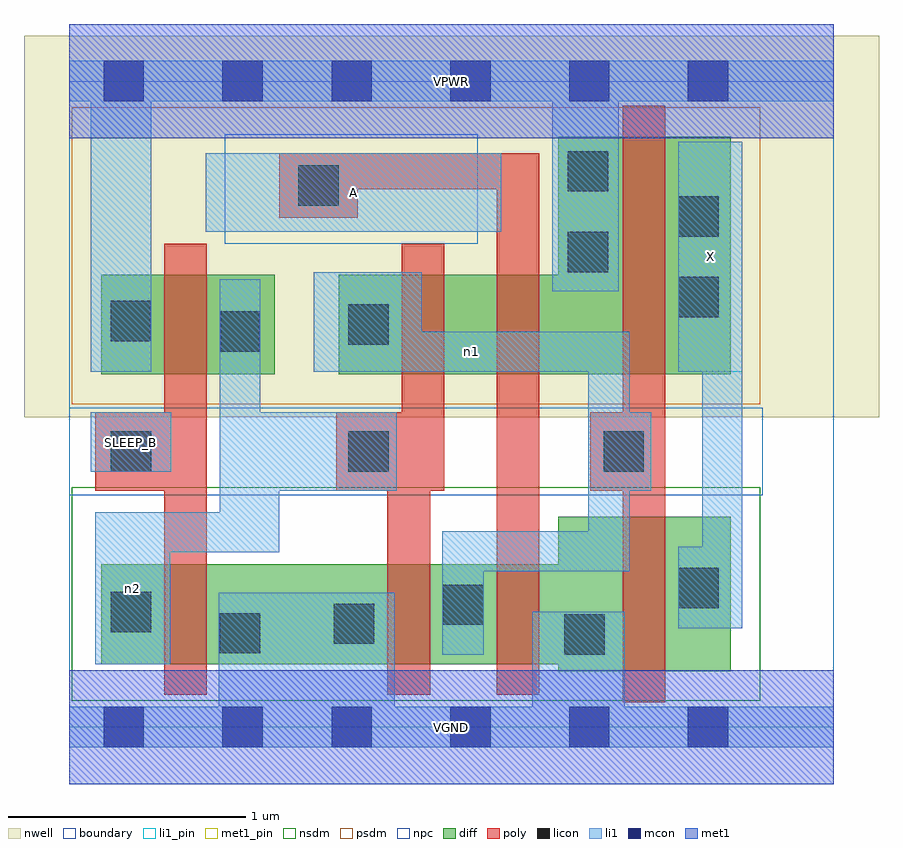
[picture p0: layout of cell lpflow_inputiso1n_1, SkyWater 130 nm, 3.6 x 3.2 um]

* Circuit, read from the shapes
.subckt lpflow_inputiso1n_1 A SLEEP_B VGND VPWR X n1 n2
XM1 VGND SLEEP_B n2 VSUBS sky130_fd_pr__nfet_01v8 w=0.42 l=0.18
XM2 n1 n2 VGND VSUBS sky130_fd_pr__nfet_01v8 w=0.42 l=0.18
XM3 VGND A n1 VSUBS sky130_fd_pr__nfet_01v8 w=0.42 l=0.18
XM4 X n1 VGND VSUBS sky130_fd_pr__nfet_01v8 w=0.65 l=0.18
XM5 n2 SLEEP_B VPWR n3 sky130_fd_pr__pfet_01v8 w=0.42 l=0.18
XM6 n4 n2 n1 n3 sky130_fd_pr__pfet_01v8 w=0.42 l=0.18
XM7 VPWR A n4 n3 sky130_fd_pr__pfet_01v8 w=0.42 l=0.18
XM8 X n1 VPWR n3 sky130_fd_pr__pfet_01v8 w=1 l=0.18
.ends

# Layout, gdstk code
import gdstk
lib = gdstk.Library(unit=1e-6, precision=1e-09)
def R(c, l, rs):  # rectangles x0, y0, x1, y1
    for r in rs: c.add(gdstk.rectangle(r[:2], r[2:], *l))
def A(c, l, x, y, w, h, nx, ny, dx, dy):  # array of equal rectangles
    R(c, l, [(x+i*dx, y+j*dy, x+i*dx+w, y+j*dy+h) for i in range(nx) for j in range(ny)])
nwell = (64, 20)
diff = (65, 20)
poly = (66, 20)
licon = (66, 44)
li1_pin = (67, 16)
li1 = (67, 20)
mcon = (67, 44)
met1_pin = (68, 16)
met1 = (68, 20)
nsdm = (93, 44)
psdm = (94, 20)
npc = (95, 20)
boundary = (235, 4)

lpflow_inputiso1n_1 = lib.new_cell('lpflow_inputiso1n_1')
R(lpflow_inputiso1n_1, nwell, [(-0.19,1.305,3.41,2.91), (0,1.305,3.22,2.91)])
R(lpflow_inputiso1n_1, diff, [(2.06,0.235,2.785,0.885), (0.135,0.265,2.785,0.685), (0.135,1.485,0.865,1.905), (1.135,1.485,2.785,1.905), (2.06,1.485,2.785,2.485)])
R(lpflow_inputiso1n_1, poly, [(2.33,0.105,2.51,2.615), (0.4,0.135,0.58,2.035), (1.34,0.135,1.52,1.325), (1.8,0.135,1.98,2.415), (0.11,0.995,0.58,1.325), (1.125,0.995,1.58,1.325), (1.4,0.995,1.58,2.035), (2.195,0.995,2.51,1.325), (0.885,2.145,1.215,2.415), (0.885,2.265,1.98,2.415)])
R(lpflow_inputiso1n_1, licon, [(2.085,0.305,2.255,0.475), (0.635,0.31,0.805,0.48), (1.115,0.35,1.285,0.52), (0.175,0.4,0.345,0.57), (1.575,0.43,1.745,0.6), (2.565,0.5,2.735,0.67), (0.175,1.075,0.345,1.245), (1.175,1.075,1.345,1.245), (2.25,1.075,2.42,1.245), (0.635,1.58,0.805,1.75), (1.175,1.61,1.345,1.78), (0.175,1.625,0.345,1.795), (2.565,1.725,2.735,1.895), (2.1,1.915,2.27,2.085), (2.565,2.065,2.735,2.235), (0.965,2.195,1.135,2.365), (2.1,2.255,2.27,2.425)])
R(lpflow_inputiso1n_1, li1_pin, [(0.09,1.075,0.43,1.325), (2.565,1.495,2.835,2.465), (0.575,2.085,1.82,2.415)])
R(lpflow_inputiso1n_1, li1, [(0,-0.085,3.22,0.085), (0.63,-0.085,1.37,0.565), (1.95,-0.085,2.34,0.485), (0.11,0.265,0.425,0.905), (1.57,0.305,1.745,0.825), (2.565,0.415,2.835,0.76), (2.665,0.415,2.835,2.465), (1.57,0.655,2.36,0.825), (2.185,0.655,2.36,1.665), (0.11,0.735,0.885,0.905), (0.635,0.735,0.805,1.885), (0.635,0.735,0.885,1.325), (0.635,0.995,1.38,1.325), (2.185,0.995,2.45,1.325), (0.09,1.075,0.43,1.325), (0.09,1.495,0.345,2.805), (1.03,1.495,2.36,1.665), (1.03,1.495,1.485,1.915), (2.565,1.495,2.835,2.465), (2.035,1.835,2.315,2.805), (0.575,2.085,1.82,2.415), (0,2.635,3.22,2.805)])
A(lpflow_inputiso1n_1, mcon, 1.105, -0.085, 0.17, 0.17, 4, 2, 0.5, 2.72)
R(lpflow_inputiso1n_1, mcon, [(0.145,-0.085,0.315,0.085), (0.645,-0.085,0.815,0.085), (0.145,2.635,0.315,2.805), (0.645,2.635,0.815,2.805)])
R(lpflow_inputiso1n_1, met1_pin, [(0,-0.24,3.22,0.24), (0,2.48,3.22,2.96)])
R(lpflow_inputiso1n_1, met1, [(0,-0.24,3.22,0.24), (0,2.48,3.22,2.96)])
R(lpflow_inputiso1n_1, nsdm, [(0.01,0.11,2.91,1.01)])
R(lpflow_inputiso1n_1, psdm, [(0.01,1.36,2.91,2.61)])
R(lpflow_inputiso1n_1, npc, [(0,0.975,2.92,1.345), (0.655,2.035,1.72,2.495)])
R(lpflow_inputiso1n_1, boundary, [(0,0,3.22,2.72)])
lpflow_inputiso1n_1.add(gdstk.Label('A', (1.197,2.25), layer=67, texttype=5))
lpflow_inputiso1n_1.add(gdstk.Label('SLEEP_B', (0.26,1.2), layer=67, texttype=5))
lpflow_inputiso1n_1.add(gdstk.Label('X', (2.7,1.98), layer=67, texttype=5))
lpflow_inputiso1n_1.add(gdstk.Label('n2', (0.267,0.585), layer=67, texttype=5))
lpflow_inputiso1n_1.add(gdstk.Label('n1', (1.695,1.58), layer=67, texttype=5))
lpflow_inputiso1n_1.add(gdstk.Label('VPWR', (1.61,2.72), layer=68, texttype=5))
lpflow_inputiso1n_1.add(gdstk.Label('VGND', (1.61,0), layer=68, texttype=5))
lpflow_inputiso1n_1.add(gdstk.Label('A', (1.197,2.25), layer=67, texttype=16))
lpflow_inputiso1n_1.add(gdstk.Label('SLEEP_B', (0.26,1.2), layer=67, texttype=16))
lpflow_inputiso1n_1.add(gdstk.Label('X', (2.7,1.98), layer=67, texttype=16))
lpflow_inputiso1n_1.add(gdstk.Label('VPWR', (1.61,2.72), layer=68, texttype=16))
lpflow_inputiso1n_1.add(gdstk.Label('VGND', (1.61,0), layer=68, texttype=16))

lib.write_gds('lpflow_inputiso1n_1.gds')
